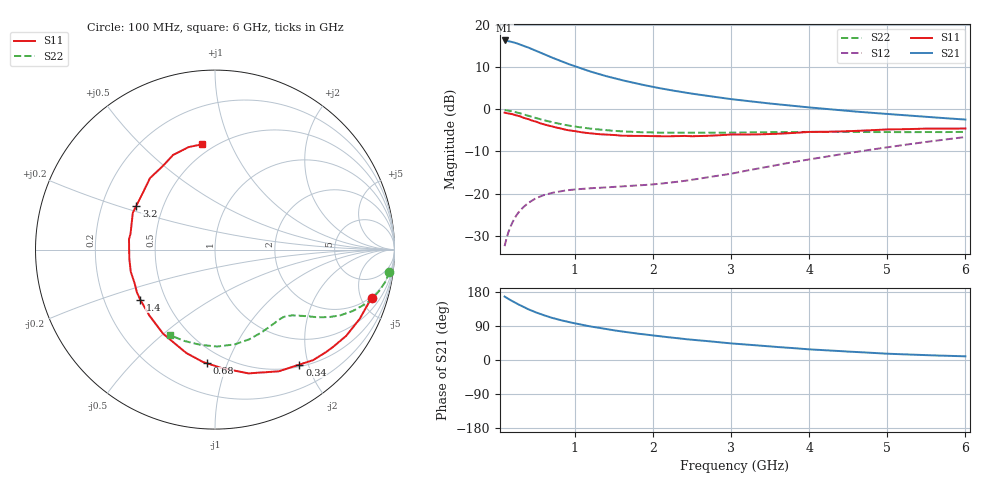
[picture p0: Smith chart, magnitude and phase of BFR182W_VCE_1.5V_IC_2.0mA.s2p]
! Infineon Technologies  Discrete & RF Semiconductors
! BFR182W
! VCE =  1.5 V,  IC =  2.0 mA
! Common Emitter S-Parameters:  Nov 2015
# GHz  S  MA  R  50
!  f  S11  S21  S12  S22
! GHz  MAG  ANG  MAG  ANG  MAG  ANG  MAG  ANG
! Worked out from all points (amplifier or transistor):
!   192 points, 100 MHz to 6 GHz, reference 50 ohm
!   highest |S21| = 16.3 dB at 100 MHz (marker M1)
!   |S21| within 3 dB of that: start of sweep to 571.9 MHz
!   unconditionally stable (mu >= 1): 1.785 GHz to 3.233 GHz
!   at 440 MHz: K = 0.29, MSG = 18.1 dB, |S12| = -21.8 dB
!   at 1.7 GHz: K = 0.97, MSG = 12.4 dB, |S12| = -18.2 dB
!   at 6 GHz: K = 0.79, MSG = 2.1 dB, |S12| = -6.6 dB
!   S11 on the Smith chart (normalised r, x): 100 MHz: 1.89, -6.08; 340 MHz: 0.53, -1.85; 680 MHz: 0.40, -0.85; 1.4 GHz: 0.36, -0.27; 3.2 GHz: 0.35, +0.23; 6 GHz: 0.44, +0.79
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0.1  0.9127 -17.1  6.564 167.4  0.0237 80.1  0.98 -7.3
0.15  0.8937 -25.6  6.44 161.0  0.0351 75.7  0.9654 -10.8
0.2  0.8746 -33.4  6.293 155.2  0.0453 71.4  0.9443 -14.0
0.26  0.8419 -42.7  6.05 148.5  0.0566 66.5  0.9142 -17.5
0.34  0.7946 -53.7  5.675 140.5  0.0687 60.8  0.8716 -21.4
0.4  0.7654 -62.4  5.427 134.2  0.077 57.3  0.8393 -24.1
0.5  0.7146 -74.8  4.962 125.7  0.0877 52.1  0.7884 -27.7
0.6  0.6638 -86.2  4.535 118.3  0.0957 48.4  0.7432 -30.3
0.68  0.6343 -94.2  4.213 113.0  0.1002 45.9  0.7126 -31.9
0.8  0.5979 -105.5  3.804 106.0  0.1058 43.3  0.6724 -34.0
0.9  0.5675 -113.7  3.494 101.0  0.1093 41.6  0.6453 -35.2
1.1  0.531 -128.1  3.015 92.7  0.1136 40.2  0.6054 -37.6
1.2  0.5184 -134.8  2.803 88.4  0.1155 39.7  0.588 -38.7
1.4  0.5012 -146.3  2.475 81.5  0.1181 40.2  0.5642 -40.5
1.68  0.4842 -160.1  2.133 73.1  0.1223 42.7  0.5426 -43.2
2.08  0.4788 -176.3  1.784 62.8  0.1305 48.0  0.5287 -47.9
2.5  0.4786 169.8  1.532 53.3  0.1454 53.8  0.5265 -53.0
3.1  0.5012 153.5  1.288 42.3  0.1793 60.7  0.5294 -62.4
3.2  0.5015 151.0  1.257 40.8  0.187 61.4  0.5302 -64.1
4.1  0.5391 130.2  1.032 27.0  0.2634 63.5  0.5381 -80.5
5.1  0.578 112.0  0.866 15.9  0.3647 59.1  0.5356 -100.6
6  0.5912 96.8  0.755 9.7  0.4684 52.0  0.539 -117.8
